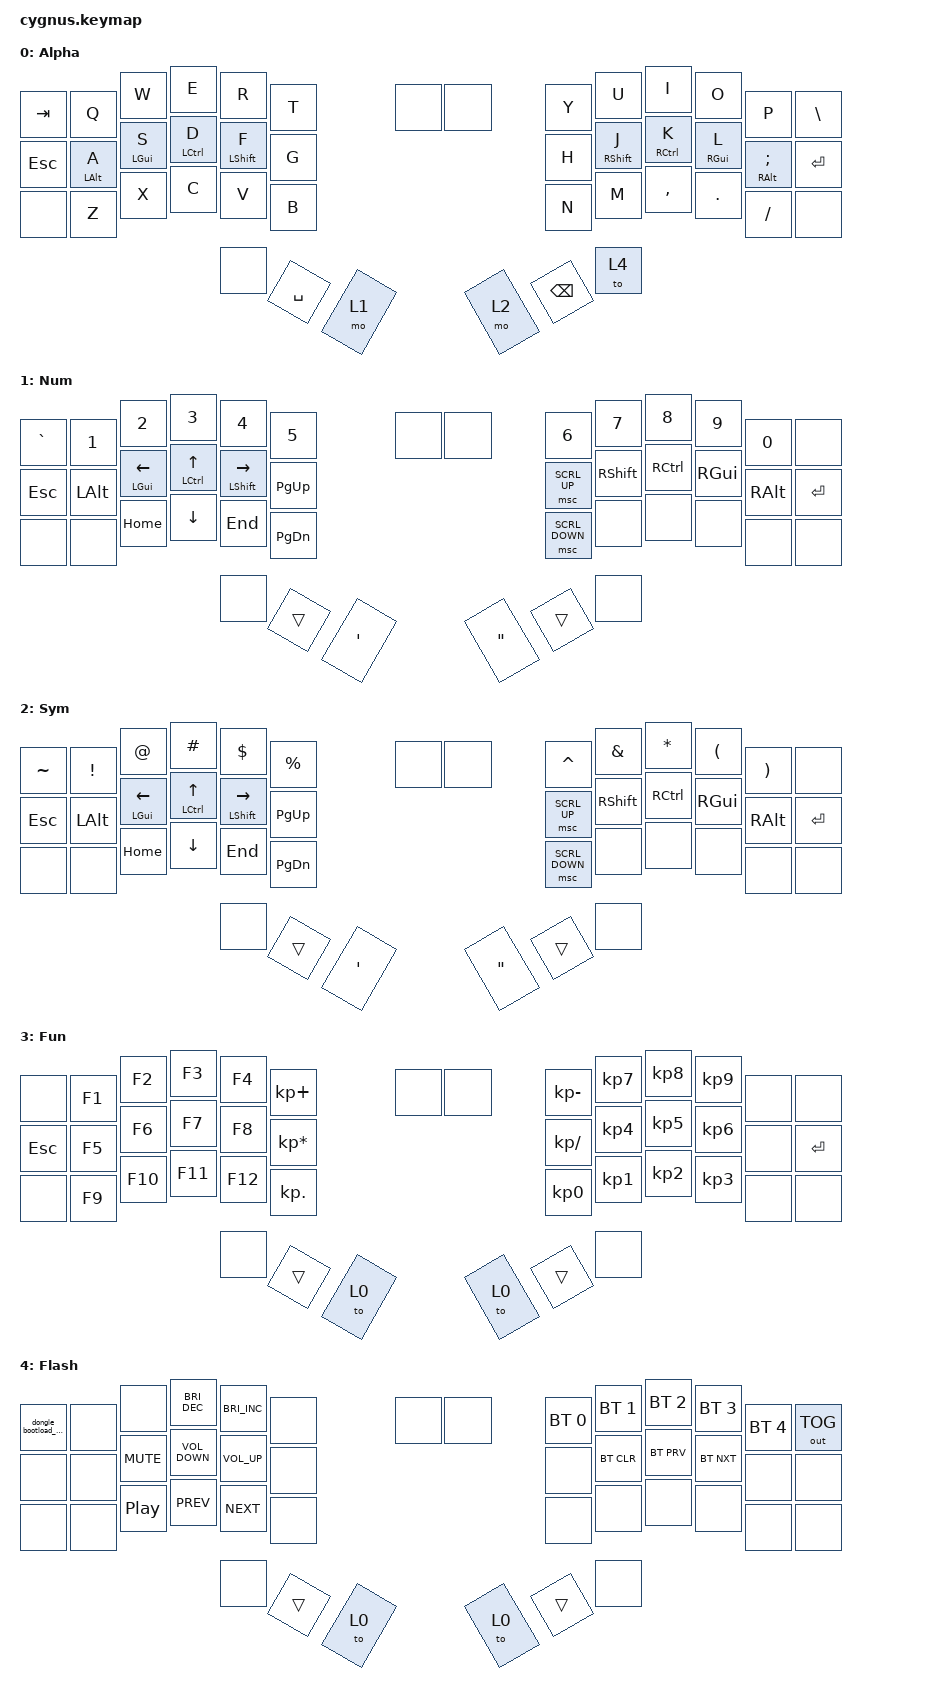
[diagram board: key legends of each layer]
/*
 * Copyright (c) 2020 The ZMK Contributors
 *
 * SPDX-License-Identifier: MIT
 */

#define ZMK_POINTING_DEFAULT_MOVE_VAL 1200  // 600
#define ZMK_POINTING_DEFAULT_SCRL_VAL 35    // 10

#include <input/processors.dtsi>
#include <zephyr/dt-bindings/input/input-event-codes.h>
#include <behaviors.dtsi>
#include <dt-bindings/zmk/bt.h>
#include <dt-bindings/zmk/keys.h>
#include <dt-bindings/zmk/outputs.h>
#include <dt-bindings/zmk/pointing.h>

#define SCROLLER 1
#define MOUSE 4

/ {
    zip_scroll_scaler: zip_scroll_scaler {
        compatible = "zmk,input-processor-scaler";
        #input-processor-cells = <2>;
        type = <INPUT_EV_REL>;
        codes = <INPUT_REL_WHEEL INPUT_REL_HWHEEL>;
        track-remainders;
    };
};

&mmv_input_listener { input-processors = <&zip_xy_scaler 2 1>; };

&msc_input_listener { input-processors = <&zip_scroll_scaler 2 1>; };

&msc {
    acceleration-exponent = <0>;      // 0
    time-to-max-speed-ms = <0>;       // 300
    delay-ms = <0>;                   // 0
};

&mmv {
    time-to-max-speed-ms = <400>;
    acceleration-exponent = <1>;
};

&mt {
    tapping-term-ms = <200>;
    flavor = "tap-preferred";
};

&sk {
    release-after-ms = <2000>;
    quick-release;
};

/ {
    macros {
        dongle_bootload_macro: bootload_macro {
            compatible = "zmk,behavior-macro";
            #binding-cells = <0>;
            bindings = <&bootloader>;
            label = "BOOTLOAD_MACRO";
        };
    };

    combos {
        compatible = "zmk,combos";

        left_bracket {
            bindings = <&kp LEFT_BRACKET>;
            key-positions = <17 18>;
            timeout-ms = <50>;
            require-prior-idle-ms = <125>;
            layers = <0 1 2>;
        };

        right_bracket {
            bindings = <&kp RIGHT_BRACKET>;
            key-positions = <21 22>;
            timeout-ms = <50>;
            require-prior-idle-ms = <125>;
            layers = <0 1 2>;
        };

        left_parenthesis {
            bindings = <&kp LEFT_PARENTHESIS>;
            key-positions = <29 30>;
            timeout-ms = <50>;
            require-prior-idle-ms = <125>;
            layers = <0 1 2>;
        };

        right_parenthesis {
            bindings = <&kp RIGHT_PARENTHESIS>;
            key-positions = <33 34>;
            timeout-ms = <50>;
            require-prior-idle-ms = <125>;
            layers = <0 1 2>;
        };

        minus {
            bindings = <&kp MINUS>;
            key-positions = <18 19>;
            timeout-ms = <50>;
            require-prior-idle-ms = <125>;
            layers = <0 1 2>;
        };

        equal {
            bindings = <&kp EQUAL>;
            key-positions = <20 21>;
            timeout-ms = <50>;
            require-prior-idle-ms = <125>;
            layers = <0 1 2>;
        };

        to_fun {
            bindings = <&to 3>;
            key-positions = <40 41>;
            require-prior-idle-ms = <125>;
            timeout-ms = <50>;
            layers = <0 1 2>;
        };

        to_flash {
            bindings = <&to 4>;
            key-positions = <38 43>;
            timeout-ms = <50>;
            require-prior-idle-ms = <125>;
            layers = <0 1 2>;
        };

        left_brace {
            bindings = <&kp LEFT_BRACE>;
            key-positions = <3 4>;
            timeout-ms = <50>;
            require-prior-idle-ms = <125>;
            layers = <0 1 2>;
        };

        right_brace {
            bindings = <&kp RIGHT_BRACE>;
            key-positions = <7 8>;
            timeout-ms = <50>;
            require-prior-idle-ms = <125>;
            layers = <0 1 2>;
        };

        underscore {
            bindings = <&kp UNDERSCORE>;
            key-positions = <4 5>;
            timeout-ms = <50>;
            require-prior-idle-ms = <125>;
            layers = <0 1 2>;
        };

        plus {
            bindings = <&kp PLUS>;
            key-positions = <6 7>;
            timeout-ms = <50>;
            require-prior-idle-ms = <125>;
            layers = <0 1 2>;
        };

        less_than {
            bindings = <&kp LESS_THAN>;
            key-positions = <30 31>;
            timeout-ms = <50>;
            require-prior-idle-ms = <125>;
            layers = <0 1 2>;
        };

        greater_than {
            bindings = <&kp GREATER_THAN>;
            key-positions = <32 33>;
            timeout-ms = <50>;
            require-prior-idle-ms = <125>;
            layers = <0 1 2>;
        };
    };

    behaviors {
        hm: homerow_mods {
            compatible = "zmk,behavior-hold-tap";
            label = "Home-Row-Mods";
            #binding-cells = <2>;
            tapping-term-ms = <200>;
            quick_tap_ms = <0>;
            flavor = "tap-preferred";
            bindings = <&kp>, <&kp>;

            quick-tap-ms = <180>;
            global-quick-tap;
        };

        ltq: ltq {
            compatible = "zmk,behavior-hold-tap";
            label = "Layer/Tap-Quick";
            #binding-cells = <2>;
            tapping-term-ms = <200>;
            flavor = "hold-preferred";
            bindings = <&mo>, <&kp>;

            quick-tap-ms = <180>;
        };

        as: as {
            compatible = "zmk,behavior-hold-tap";
            label = "Auto-Shift";
            bindings = <&kp>, <&kp>;

            #binding-cells = <2>;
            tapping-term-ms = <135>;
            quick-tap-ms = <0>;
            flavor = "tap-preferred";
        };

        hml: hrm_lhs {
            compatible = "zmk,behavior-hold-tap";
            label = "HRM_LHS";
            bindings = <&kp>, <&kp>;

            #binding-cells = <2>;
            tapping-term-ms = <250>;
            quick-tap-ms = <150>;
            require-prior-idle-ms = <125>;
            flavor = "balanced";
            hold-trigger-key-positions = <21 22 23 24 25>;
            hold-trigger-on-release;
        };

        hmr: hrm_rhs {
            compatible = "zmk,behavior-hold-tap";
            label = "HRM_RHS";
            bindings = <&kp>, <&kp>;

            #binding-cells = <2>;
            tapping-term-ms = <250>;
            quick-tap-ms = <150>;
            require-prior-idle-ms = <125>;
            flavor = "balanced";
            hold-trigger-key-positions = <15 16 17 18 14>;
            hold-trigger-on-release;
        };

        lplt: lpar_lt {
            compatible = "zmk,behavior-mod-morph";
            label = "LPAR_LT";
            bindings = <&kp LEFT_PARENTHESIS>, <&kp LESS_THAN>;

            #binding-cells = <0>;
            mods = <(MOD_LSFT)>;
            keep-mods = <(MOD_LSFT)>;
        };

        rpgt: rpar_gt {
            compatible = "zmk,behavior-mod-morph";
            label = "RPAR_GT";
            bindings = <&kp RIGHT_PARENTHESIS>, <&kp GREATER_THAN>;

            #binding-cells = <0>;
            mods = <(MOD_LSFT)>;
            keep-mods = <(MOD_LSFT)>;
        };
    };

    keymap {
        compatible = "zmk,keymap";

        Alpha {
            bindings = <
&kp TAB  &kp Q           &kp W           &kp E               &kp R             &kp T  &kp Y  &kp U              &kp I                &kp O            &kp P               &kp BACKSLASH  &none  &none
&kp ESC  &hm LEFT_ALT A  &hm LEFT_GUI S  &hm LEFT_CONTROL D  &hm LEFT_SHIFT F  &kp G  &kp H  &hm RIGHT_SHIFT J  &hm RIGHT_CONTROL K  &hm RIGHT_GUI L  &hm RIGHT_ALT SEMI  &kp ENTER
&none    &kp Z           &kp X           &kp C               &kp V             &kp B  &kp N  &kp M              &kp COMMA            &kp DOT          &kp SLASH           &none
                                         &none               &kp SPACE         &mo 1  &mo 2  &kp BACKSPACE      &to 4
            >;

            label = "Alpha";
        };

        Num {
            bindings = <
&kp GRAVE  &kp NUMBER_1  &kp NUMBER_2             &kp NUMBER_3               &kp NUMBER_4                &kp NUMBER_5      &kp NUMBER_6       &kp NUMBER_7     &kp NUMBER_8       &kp NUMBER_9   &kp NUMBER_0   &none      &none  &none
&kp ESC    &kp LEFT_ALT  &hm LEFT_GUI LEFT_ARROW  &hm LEFT_CONTROL UP_ARROW  &hm LEFT_SHIFT RIGHT_ARROW  &kp PAGE_UP       &msc SCRL_UP       &kp RIGHT_SHIFT  &kp RIGHT_CONTROL  &kp RIGHT_GUI  &kp RIGHT_ALT  &kp ENTER
&none      &none         &kp HOME                 &kp DOWN_ARROW             &kp END                     &kp PAGE_DOWN     &msc SCRL_DOWN     &none            &none              &none          &none          &none
                                                  &none                      &trans                      &kp SINGLE_QUOTE  &kp DOUBLE_QUOTES  &trans           &none
            >;

            label = "Num";
        };

        Sym {
            bindings = <
&kp TILDE  &kp EXCLAMATION  &kp AT_SIGN              &kp HASH                   &kp DOLLAR                  &kp PERCENT       &kp CARET          &kp AMPERSAND    &kp STAR           &kp LEFT_PARENTHESIS  &kp RIGHT_PARENTHESIS  &none      &none  &none
&kp ESC    &kp LEFT_ALT     &hm LEFT_GUI LEFT_ARROW  &hm LEFT_CONTROL UP_ARROW  &hm LEFT_SHIFT RIGHT_ARROW  &kp PAGE_UP       &msc SCRL_UP       &kp RIGHT_SHIFT  &kp RIGHT_CONTROL  &kp RIGHT_GUI         &kp RIGHT_ALT          &kp ENTER
&none      &none            &kp HOME                 &kp DOWN_ARROW             &kp END                     &kp PAGE_DOWN     &msc SCRL_DOWN     &none            &none              &none                 &none                  &none
                                                     &none                      &trans                      &kp SINGLE_QUOTE  &kp DOUBLE_QUOTES  &trans           &none
            >;

            label = "Sym";
        };

        Fun {
            bindings = <
&none    &kp F1  &kp F2   &kp F3   &kp F4   &kp KP_PLUS      &kp KP_MINUS     &kp KP_N7  &kp KP_N8  &kp KP_N9  &none  &none      &none  &none
&kp ESC  &kp F5  &kp F6   &kp F7   &kp F8   &kp KP_MULTIPLY  &kp KP_DIVIDE    &kp KP_N4  &kp KP_N5  &kp KP_N6  &none  &kp ENTER
&none    &kp F9  &kp F10  &kp F11  &kp F12  &kp KP_DOT       &kp KP_NUMBER_0  &kp KP_N1  &kp KP_N2  &kp KP_N3  &none  &none
                          &none    &trans   &to 0            &to 0            &trans     &none
            >;

            label = "Fun";
        };

        Flash {
            bindings = <
&dongle_bootload_macro  &none  &none             &kp C_BRIGHTNESS_DEC  &kp C_BRIGHTNESS_INC  &none  &bt BT_SEL 0  &bt BT_SEL 1  &bt BT_SEL 2  &bt BT_SEL 3  &bt BT_SEL 4  &out OUT_TOG  &none  &none
&none                   &none  &kp C_MUTE        &kp C_VOLUME_DOWN     &kp C_VOLUME_UP       &none  &none         &bt BT_CLR    &bt BT_PRV    &bt BT_NXT    &none         &none
&none                   &none  &kp C_PLAY_PAUSE  &kp C_PREV            &kp C_NEXT            &none  &none         &none         &none         &none         &none         &none
                                                 &none                 &trans                &to 0  &to 0         &trans        &none
            >;

            label = "Flash";
        };
    };

    conditional_layers {
        compatible = "zmk,conditional-layers";

        Flash {
            if-layers = <2 3>;
            then-layer = <4>;
        };
    };
};
